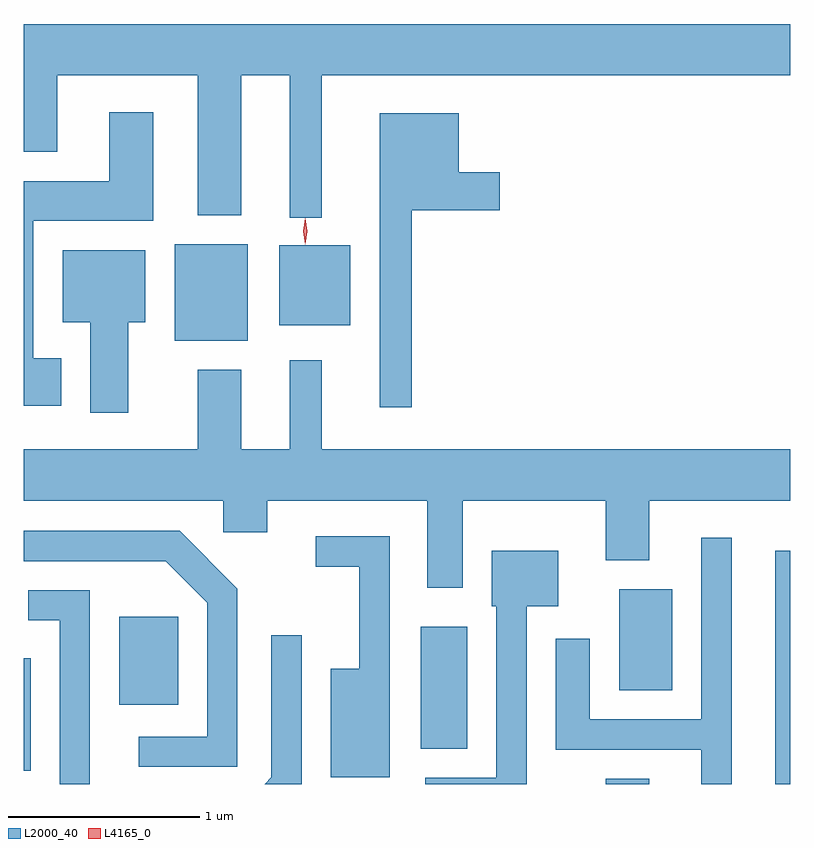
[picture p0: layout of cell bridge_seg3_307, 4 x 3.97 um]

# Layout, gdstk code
import gdstk
lib = gdstk.Library(unit=1e-6, precision=1e-09)
def R(c, l, rs):  # rectangles x0, y0, x1, y1
    for r in rs: c.add(gdstk.rectangle(r[:2], r[2:], *l))
def P(c, l, *ps):  # polygons
    for p in ps: c.add(gdstk.Polygon(p, *l))
L2000_40 = (2000, 40)
L4165_0 = (4165, 0)

bridge_seg3_307 = lib.new_cell('bridge_seg3_307')
R(bridge_seg3_307, L2000_40, [(584.411,1200.017,584.639,1200.044), (585.296,1200.017,585.374,1201.234), (581.374,1200.086,581.409,1200.673), (583.446,1200.201,583.689,1200.839), (581.871,1200.431,582.179,1200.889), (584.481,1200.506,584.759,1201.034), (582.161,1202.331,582.544,1202.834), (582.706,1202.411,583.079,1202.829)])
P(bridge_seg3_307, L2000_40, [(582.929,1203.716),(585.374,1203.716),(585.374,1203.984),(581.374,1203.984),(581.374,1203.316),(581.549,1203.316),(581.549,1203.716),(582.281,1203.716),(582.281,1202.986),(582.509,1202.986),(582.509,1203.716),(582.761,1203.716),(582.761,1202.973),(582.929,1202.973)],
  [(581.569,1202.239),(581.424,1202.239),(581.424,1202.956),(582.049,1202.956),(582.049,1203.524),(581.821,1203.524),(581.821,1203.164),(581.374,1203.164),(581.374,1201.991),(581.569,1201.991)],
  [(583.399,1203.011),(583.859,1203.011),(583.859,1203.209),(583.644,1203.209),(583.644,1203.519),(583.231,1203.519),(583.231,1201.983),(583.399,1201.983)],
  [(581.919,1202.426),(582.009,1202.426),(582.009,1202.804),(581.576,1202.804),(581.576,1202.426),(581.721,1202.426),(581.721,1201.956),(581.919,1201.956)],
  [(583.664,1201.496),(584.411,1201.496),(584.411,1201.186),(584.639,1201.186),(584.639,1201.496),(585.374,1201.496),(585.374,1201.764),(582.929,1201.764),(582.929,1202.228),(582.761,1202.228),(582.761,1201.764),(582.509,1201.764),(582.509,1202.179),(582.281,1202.179),(582.281,1201.764),(581.374,1201.764),(581.374,1201.496),(582.416,1201.496),(582.416,1201.331),(582.644,1201.331),(582.644,1201.496),(583.481,1201.496),(583.481,1201.041),(583.664,1201.041)],
  [(582.489,1201.037),(582.187,1201.339),(581.374,1201.339),(581.374,1201.181),(582.114,1201.181),(582.331,1200.964),(582.331,1200.264),(581.973,1200.264),(581.973,1200.106),(582.489,1200.106)],
  [(583.284,1201.309),(582.898,1201.309),(582.898,1201.151),(583.126,1201.151),(583.126,1200.619),(582.976,1200.619),(582.976,1200.051),(583.284,1200.051)],
  [(585.069,1201.303),(584.911,1201.303),(584.911,1200.354),(584.329,1200.354),(584.329,1200.774),(584.151,1200.774),(584.151,1200.196),(584.911,1200.196),(584.911,1200.017),(585.069,1200.017)],
  [(583.999,1200.946),(584.164,1200.946),(584.164,1201.234),(583.816,1201.234),(583.816,1200.946),(583.841,1200.946),(583.841,1200.049),(583.468,1200.049),(583.468,1200.017),(583.999,1200.017)],
  [(581.719,1201.029),(581.398,1201.029),(581.398,1200.871),(581.561,1200.871),(581.561,1200.017),(581.719,1200.017)],
  [(582.824,1200.793),(582.666,1200.793),(582.666,1200.052),(582.631,1200.017),(582.824,1200.017)])
P(bridge_seg3_307, L4165_0, [(582.843,1202.838),(582.833,1202.902),(582.843,1202.966),(582.844,1202.967),(582.844,1202.966),(582.854,1202.902),(582.844,1202.838),(582.844,1202.838)],
  [(582.843,1202.834),(582.843,1202.834),(582.833,1202.902),(582.843,1202.97),(582.843,1202.97),(582.844,1202.97),(582.853,1202.902),(582.844,1202.834)])

lib.write_gds('bridge_seg3_307.gds')
